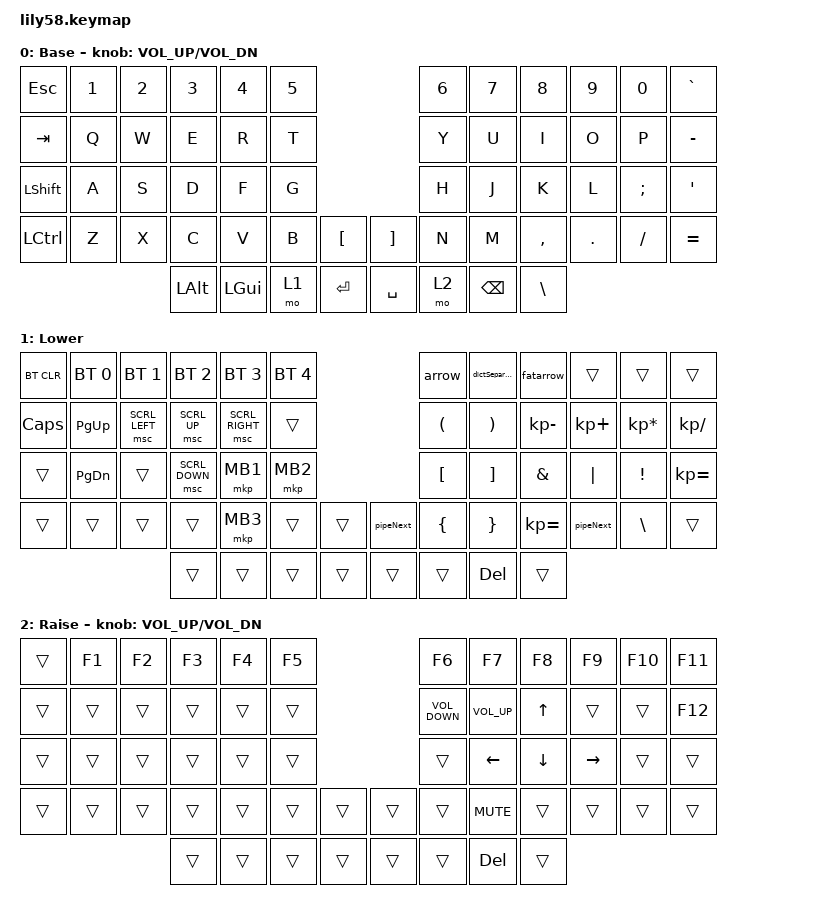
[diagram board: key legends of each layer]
/*
 * Copyright (c) 2020 The ZMK Contributors
 *
 * SPDX-License-Identifier: MIT
 */

#define ZMK_POINTING_DEFAULT_MOVE_VAL 1500  // default: 1500
#define ZMK_POINTING_DEFAULT_SCRL_VAL 20    // default: 20

#include <behaviors.dtsi>
#include <dt-bindings/zmk/bt.h>
#include <dt-bindings/zmk/keys.h>
#include <dt-bindings/zmk/pointing.h>

/ {
    macros {
        arrow: arrow {
            compatible = "zmk,behavior-macro";
            #binding-cells = <0>;
            bindings = <&kp MINUS &kp GT>;
            label = "ARROW";
        };

        fatarrow: fatarrow {
            compatible = "zmk,behavior-macro";
            #binding-cells = <0>;
            bindings = <&kp EQUAL &kp EQUAL &kp GT>;
            label = "FATARROW";
        };

        dictSeparator: dictSeparator {
            compatible = "zmk,behavior-macro";
            #binding-cells = <0>;
            bindings = <&none &kp EQUAL &kp GT>;
            label = "DICTSEPARATOR";
        };

        pipeNext: pipeNext {
            compatible = "zmk,behavior-macro";
            #binding-cells = <0>;
            bindings = <&kp PIPE &kp GT>;
            label = "PIPENEXT";
        };
    };

    keymap {
        compatible = "zmk,keymap";

        default_layer {
            // ------------------------------------------------------------------------------------------------------------
            // |  ESC  |  1  |  2  |  3   |  4   |  5   |                   |  6   |  7    |  8    |  9   |   0   |   `   |
            // |  TAB  |  Q  |  W  |  E   |  R   |  T   |                   |  Y   |  U    |  I    |  O   |   P   |   -   |
            // |  CTRL |  A  |  S  |  D   |  F   |  G   |                   |  H   |  J    |  K    |  L   |   ;   |   '   |
            // | SHIFT |  Z  |  X  |  C   |  V   |  B   |   "["  |  |  "]"  |  N   |  M    |  ,    |  .   |   /   | SHIFT |
            //                     | ALT  | GUI  | LOWER|  SPACE |  | ENTER | RAISE| BSPC  | GUI   |

            display-name = "Base";
            bindings = <
&kp ESC     &kp N1  &kp N2  &kp N3    &kp N4    &kp N5                           &kp N6  &kp N7    &kp N8         &kp N9   &kp N0    &kp GRAVE
&kp TAB     &kp Q   &kp W   &kp E     &kp R     &kp T                            &kp Y   &kp U     &kp I          &kp O    &kp P     &kp MINUS
&kp LSHIFT  &kp A   &kp S   &kp D     &kp F     &kp G                            &kp H   &kp J     &kp K          &kp L    &kp SEMI  &kp SQT
&kp LCTRL   &kp Z   &kp X   &kp C     &kp V     &kp B   &kp LBKT      &kp RBKT   &kp N   &kp M     &kp COMMA      &kp DOT  &kp FSLH  &kp EQUAL
                            &kp LALT  &kp LGUI  &mo 1   &kp RETURN    &kp SPACE  &mo 2   &kp BSPC  &kp BACKSLASH
            >;

            sensor-bindings = <&inc_dec_kp C_VOL_UP C_VOL_DN>;
        };

        lower_layer {
            // ------------------------------------------------------------------------------------------------------------
            // | BTCLR | BT1 | BT2 |  BT3 |  BT4 |  BT5 |                   |      |       |       |      |       |       |
            // |  F1   |  F2 |  F3 |  F4  |  F5  |  F6  |                   |  F7  |  F8   |  F9   |  F10 |  F11  |  F12  |
            // |   `   |  !  |  @  |  #   |  $   |  %   |                   |  ^   |  &    |  *    |  (   |   )   |   ~   |
            // |       |     |     |      |      |      |        |  |       |      |  _    |  +    |  {   |   }   |  "|"  |
            //                     |      |      |      |        |  |       |      |       |       |

            display-name = "Lower";
            bindings = <
&bt BT_CLR    &bt BT_SEL 0   &bt BT_SEL 1    &bt BT_SEL 2    &bt BT_SEL 3     &bt BT_SEL 4                       &arrow                &dictSeparator         &fatarrow      &trans       &trans           &trans
&kp CAPSLOCK  &kp PAGE_UP    &msc SCRL_LEFT  &msc SCRL_UP    &msc SCRL_RIGHT  &trans                             &kp LEFT_PARENTHESIS  &kp RIGHT_PARENTHESIS  &kp KP_MINUS   &kp KP_PLUS  &kp KP_MULTIPLY  &kp KP_DIVIDE
&trans        &kp PAGE_DOWN  &trans          &msc SCRL_DOWN  &mkp MB1         &mkp MB2                           &kp LEFT_BRACKET      &kp RIGHT_BRACKET      &kp AMPERSAND  &kp PIPE     &kp EXCLAMATION  &kp KP_EQUAL
&trans        &trans         &trans          &trans          &mkp MB3         &trans        &trans    &pipeNext  &kp LEFT_BRACE        &kp RIGHT_BRACE        &kp KP_EQUAL   &pipeNext    &kp BACKSLASH    &trans
                                             &trans          &trans           &trans        &trans    &trans     &trans                &kp DEL                &trans
            >;
        };

        raise_layer {
            // ------------------------------------------------------------------------------------------------------------
            // |       |     |     |      |      |      |                   |      |       |       |      |       |       |
            // |   `   |  1  |  2  |  3   |  4   |  5   |                   |  6   |   7   |   8   |  9   |   0   |       |
            // |   F1  |  F2 |  F3 |  F4  |  F5  |  F6  |                   |      |   <-  |   v   |  ^   |  ->   |       |
            // |   F7  |  F8 |  F9 |  F10 |  F11 |  F12 |        |  |       |  +   |   -   |   =   |  [   |   ]   |   \   |
            //                     |      |      |      |        |  |       |      |       |       |

            display-name = "Raise";
            bindings = <
&trans  &kp F1  &kp F2  &kp F3  &kp F4  &kp F5                    &kp F6             &kp F7           &kp F8        &kp F9     &kp F10  &kp F11
&trans  &trans  &trans  &trans  &trans  &trans                    &kp C_VOLUME_DOWN  &kp C_VOLUME_UP  &kp UP_ARROW  &trans     &trans   &kp F12
&trans  &trans  &trans  &trans  &trans  &trans                    &trans             &kp LEFT         &kp DOWN      &kp RIGHT  &trans   &trans
&trans  &trans  &trans  &trans  &trans  &trans  &trans    &trans  &trans             &kp C_MUTE       &trans        &trans     &trans   &trans
                        &trans  &trans  &trans  &trans    &trans  &trans             &kp DELETE       &trans
            >;

            sensor-bindings = <&inc_dec_kp C_VOL_UP C_VOL_DN>;
        };

        extra_1 { status = "reserved"; };

        extra_2 { status = "reserved"; };

        extra_3 { status = "reserved"; };
    };
};
